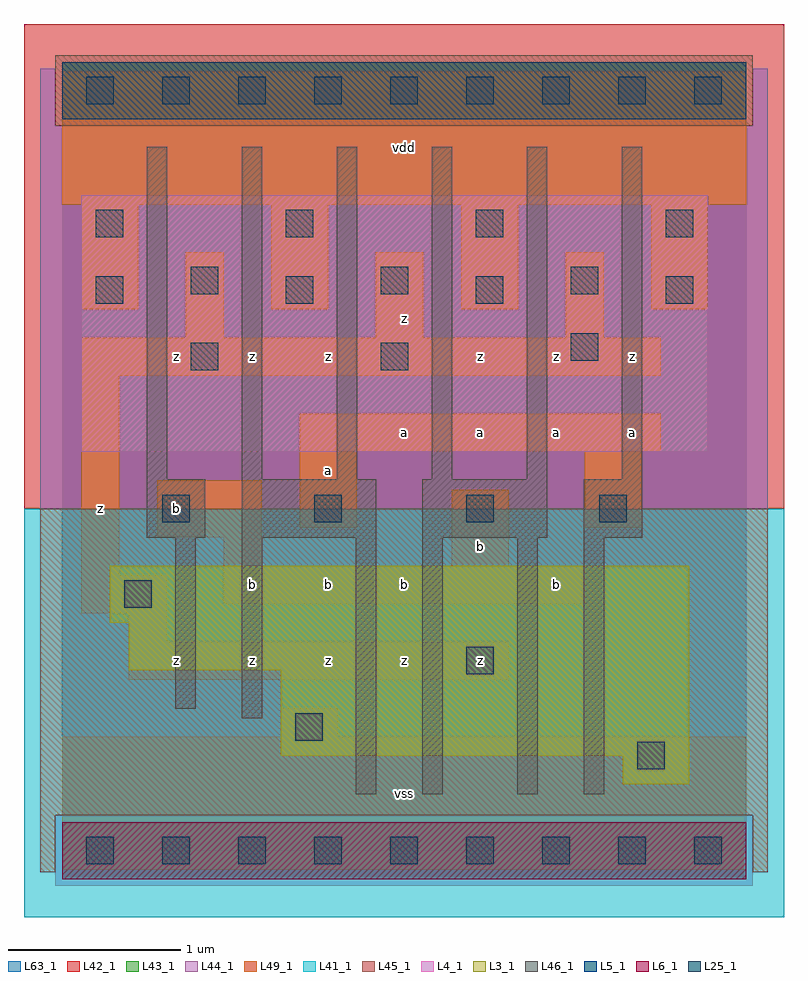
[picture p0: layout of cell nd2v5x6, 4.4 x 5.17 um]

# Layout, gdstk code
import gdstk
lib = gdstk.Library(unit=1e-6, precision=1e-09)
def R(c, l, rs):  # rectangles x0, y0, x1, y1
    for r in rs: c.add(gdstk.rectangle(r[:2], r[2:], *l))
def A(c, l, x, y, w, h, nx, ny, dx, dy):  # array of equal rectangles
    R(c, l, [(x+i*dx, y+j*dy, x+i*dx+w, y+j*dy+h) for i in range(nx) for j in range(ny)])
L3_1 = (3, 1)
L4_1 = (4, 1)
L5_1 = (5, 1)
L6_1 = (6, 1)
L25_1 = (25, 1)
L41_1 = (41, 1)
L42_1 = (42, 1)
L43_1 = (43, 1)
L44_1 = (44, 1)
L45_1 = (45, 1)
L46_1 = (46, 1)
L49_1 = (49, 1)
L63_1 = (63, 1)

nd2v5x6 = lib.new_cell('nd2v5x6')
R(nd2v5x6, L3_1, [(3.245,0.385,3.63,0.55), (1.265,0.55,3.63,1.045), (0.385,1.045,3.63,1.32), (0.275,1.32,3.63,1.65)])
R(nd2v5x6, L4_1, [(0.11,2.31,3.74,3.795)])
R(nd2v5x6, L5_1, [(0,4.235,3.96,4.565)])
R(nd2v5x6, L6_1, [(0,-0.165,3.96,0.165)])
A(nd2v5x6, L25_1, 0.14, -0.08, 0.16, 0.16, 9, 2, 0.44, 4.4)
A(nd2v5x6, L25_1, 0.58, 1.9, 0.16, 0.16, 3, 1, 0.88, 0)
A(nd2v5x6, L25_1, 0.195, 3.165, 0.16, 0.16, 4, 2, 1.1, 0.385)
A(nd2v5x6, L25_1, 0.745, 3.22, 0.16, 0.16, 3, 1, 1.1, 0)
R(nd2v5x6, L25_1, [(3.33,0.47,3.49,0.63), (1.35,0.635,1.51,0.795), (2.34,1.02,2.5,1.18), (0.36,1.405,0.52,1.565), (3.11,1.9,3.27,2.06), (0.745,2.78,0.905,2.94), (1.845,2.78,2.005,2.94), (2.945,2.835,3.105,2.995)])
R(nd2v5x6, L41_1, [(-0.22,-0.385,4.18,1.98)])
R(nd2v5x6, L42_1, [(-0.22,1.98,4.18,4.785)])
R(nd2v5x6, L43_1, [(0,-0.165,3.96,0.165), (3.245,0.385,3.63,0.55), (1.265,0.55,3.63,1.045), (0.385,1.045,3.63,1.32), (0.275,1.32,3.63,1.65), (0.11,2.31,3.74,3.795), (0,4.235,3.96,4.565)])
R(nd2v5x6, L44_1, [(-0.04,-0.205,4,0.205), (-0.125,1.98,4.085,4.195), (-0.125,4.195,-0.04,4.525), (4,4.195,4.085,4.525)])
R(nd2v5x6, L45_1, [(-0.125,-0.125,-0.04,0.205), (4,-0.125,4.085,0.205), (-0.125,0.205,4.085,1.98), (-0.04,4.195,4,4.605)])
A(nd2v5x6, L46_1, 0.49, 2.15, 0.12, 1.925, 6, 1, 0.55, 0)
R(nd2v5x6, L46_1, [(1.7,0.325,1.82,1.81), (2.085,0.325,2.205,1.81), (2.635,0.325,2.755,1.81), (3.02,0.325,3.14,1.81), (1.04,0.765,1.16,1.81), (0.655,0.82,0.775,1.81), (0.49,1.81,0.83,2.15), (1.04,1.81,1.82,2.15), (2.085,1.81,2.81,2.15), (3.02,1.81,3.36,2.15)])
A(nd2v5x6, L49_1, 0.11, 3.135, 0.33, 0.605, 4, 1, 1.1, 0)
R(nd2v5x6, L49_1, [(0,-0.11,3.96,0.66), (1.265,0.66,1.595,0.825), (0.385,0.99,2.585,1.21), (0.385,1.21,0.605,1.375), (0.11,1.375,0.605,1.595), (0.935,1.43,3.025,1.65), (0.11,1.595,0.33,2.75), (0.935,1.65,1.155,1.815), (2.255,1.65,2.585,2.09), (0.55,1.815,1.155,2.145), (1.375,1.87,1.705,2.31), (3.025,1.87,3.355,2.31), (1.375,2.31,3.465,2.53), (0.11,2.75,3.465,2.97), (0.715,2.97,0.935,3.465), (1.815,2.97,2.09,3.465), (2.915,2.97,3.135,3.465), (0,3.74,3.96,4.51)])
R(nd2v5x6, L63_1, [(0,0,3.96,4.4)])
nd2v5x6.add(gdstk.Label('z', (0.22,1.98), layer=49, texttype=1))
nd2v5x6.add(gdstk.Label('z', (0.66,1.1), layer=49, texttype=1))
nd2v5x6.add(gdstk.Label('z', (1.1,1.1), layer=49, texttype=1))
nd2v5x6.add(gdstk.Label('b', (1.1,1.54), layer=49, texttype=1))
nd2v5x6.add(gdstk.Label('b', (0.66,1.98), layer=49, texttype=1))
nd2v5x6.add(gdstk.Label('z', (1.1,2.86), layer=49, texttype=1))
nd2v5x6.add(gdstk.Label('z', (0.66,2.86), layer=49, texttype=1))
nd2v5x6.add(gdstk.Label('vss', (1.98,0.33), layer=49, texttype=1))
nd2v5x6.add(gdstk.Label('z', (1.54,1.1), layer=49, texttype=1))
nd2v5x6.add(gdstk.Label('b', (1.54,1.54), layer=49, texttype=1))
nd2v5x6.add(gdstk.Label('z', (1.98,1.1), layer=49, texttype=1))
nd2v5x6.add(gdstk.Label('b', (1.98,1.54), layer=49, texttype=1))
nd2v5x6.add(gdstk.Label('a', (1.54,2.2), layer=49, texttype=1))
nd2v5x6.add(gdstk.Label('a', (1.98,2.42), layer=49, texttype=1))
nd2v5x6.add(gdstk.Label('z', (1.54,2.86), layer=49, texttype=1))
nd2v5x6.add(gdstk.Label('z', (1.98,3.08), layer=49, texttype=1))
nd2v5x6.add(gdstk.Label('vdd', (1.98,4.07), layer=49, texttype=1))
nd2v5x6.add(gdstk.Label('z', (2.42,1.1), layer=49, texttype=1))
nd2v5x6.add(gdstk.Label('b', (2.86,1.54), layer=49, texttype=1))
nd2v5x6.add(gdstk.Label('b', (2.42,1.76), layer=49, texttype=1))
nd2v5x6.add(gdstk.Label('a', (2.42,2.42), layer=49, texttype=1))
nd2v5x6.add(gdstk.Label('a', (2.86,2.42), layer=49, texttype=1))
nd2v5x6.add(gdstk.Label('z', (2.86,2.86), layer=49, texttype=1))
nd2v5x6.add(gdstk.Label('z', (2.42,2.86), layer=49, texttype=1))
nd2v5x6.add(gdstk.Label('a', (3.3,2.42), layer=49, texttype=1))
nd2v5x6.add(gdstk.Label('z', (3.3,2.86), layer=49, texttype=1))

lib.write_gds('nd2v5x6.gds')
